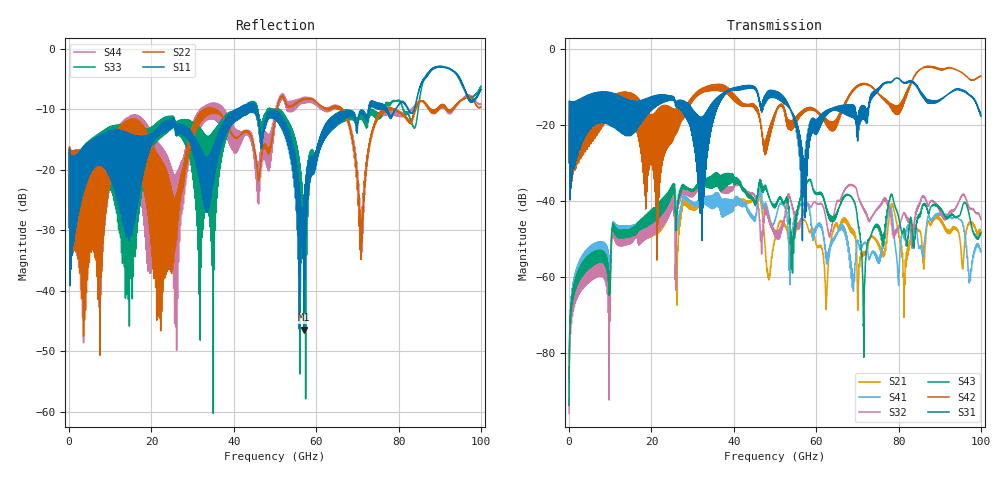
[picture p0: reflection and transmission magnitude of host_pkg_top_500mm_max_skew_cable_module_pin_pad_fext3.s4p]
# Hz S RI R 50
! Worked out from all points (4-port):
!   10000 points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, 10 MHz to 100 GHz, reference 50 ohm
!   strongest paths, dB at 10 MHz, 25.01 GHz, 50.01 GHz, 75.01 GHz, 100 GHz:
!     S31: -29.9, -12.4, -11.2, -10.9, -17.7
!     S42: -29.9, -15.8, -16.8, -11.6, -7.2
!     S43: -93.7, -38.2, -41.5, -46.2, -48.3
!     S32: -95.8, -42.1, -49.2, -41.8, -44.8
!     S41: -91.9, -38.9, -45.1, -56.2, -53.1
!     S21: -93.9, -41.4, -50.0, -50.7, -48.0
!   lowest |S11| = -46.4 dB at 56.98 GHz (marker M1), VSWR 1.01, Z = 49.9 + j0.459 ohm
!   |S11| at or under -10 dB: start of sweep to 40.63 GHz; 45.64 GHz to 72.82 GHz (27.18 GHz wide, 45.9 % of centre); 77.19 GHz to 79.24 GHz (2.054 GHz wide, 2.63 % of centre)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
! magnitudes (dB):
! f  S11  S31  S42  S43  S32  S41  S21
! 10 MHz  -29.6  -29.9  -29.9  -93.7  -95.8  -91.9  -93.9
! 27.75 GHz  -14.2  -16.2  -18.1  -35.8  -36.7  -38.5  -39.8
! 56.98 GHz  -46.4  -30.0  -16.8  -36.6  -42.8  -40.5  -45.0
! 68.76 GHz  -10.9  -14.9  -11.4  -39.3  -35.9  -62.1  -48.3
! 71.59 GHz  -11.1  -15.3  -9.3  -80.7  -42.1  -51.0  -53.3
! 78.19 GHz  -11.5  -8.7  -15.6  -38.2  -44.2  -41.9  -41.1
! 100 GHz  -6.7  -17.7  -7.2  -48.3  -44.8  -53.1  -48.0
